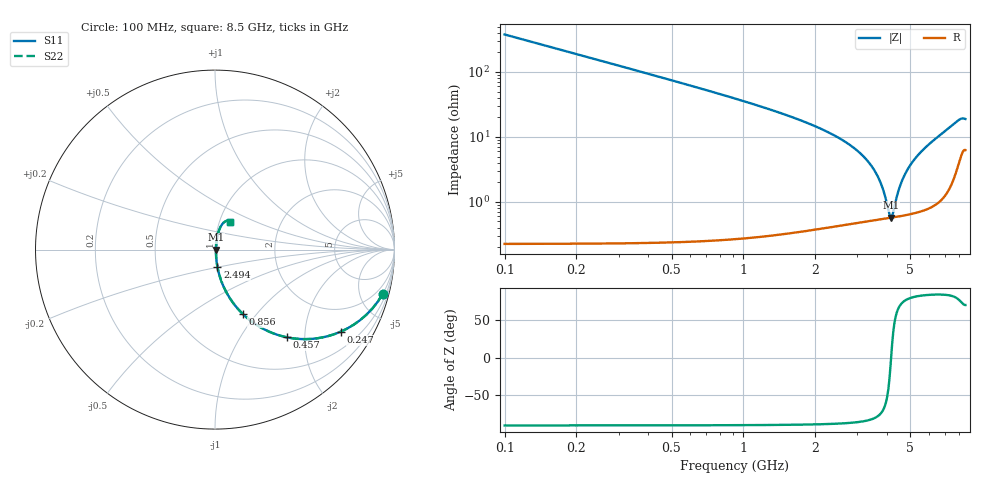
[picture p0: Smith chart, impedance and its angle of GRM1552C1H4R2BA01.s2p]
!Murata Part Number: GRM1552C1H4R2BA01
!These Parameters are Measured in Series Mode Connection
!Data Generated on Mar 30, 2021
!  o--ll--o
!Port1  Port2
!  o------o
!Operation Temp=25[degC], DC Bias Voltage=0[V]
!Freq. Start=100[MHz] Stop=9[GHz] 401[Steps]
# Hz S RI R 50
!Freq.(Hz) S11(Real) S11(Imag) S21(Real) S21(Imag) S12(Real) S12(Imag) S22(Real) S22(Imag)
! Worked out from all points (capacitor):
!   401 points, 100 MHz to 8.5 GHz, reference 50 ohm
!   read as one part in series: C = 4.2 pF near 142 MHz
!   lowest |Z| = 570 mohm at 4.153 GHz (marker M1)
!   series resonance near 4.152 GHz, so ESL is about 350 pH
!   S11 on the Smith chart (normalised r, x): 100 MHz: 1.00, -7.57; 247 MHz: 1.00, -3.06; 457 MHz: 1.00, -1.64; 856 MHz: 1.01, -0.85; 2.494 GHz: 1.01, -0.20; 8.5 GHz: 1.13, +0.36
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1e8  0.9347 -0.2468  0.0653 0.2468  0.0653 0.2468  0.9347 -0.2468
2.47e8  0.7001 -0.4575  0.2999 0.4575  0.2999 0.4575  0.7001 -0.4575
4.57e8  0.4018 -0.4888  0.5982 0.4888  0.5982 0.4888  0.4018 -0.4888
6.25e8  0.2608 -0.437  0.7392 0.437  0.7392 0.437  0.2608 -0.437
8.56e8  0.1539 -0.3577  0.8461 0.3577  0.8461 0.3577  0.1539 -0.3577
1.507e9  0.0484 -0.2073  0.9516 0.2073  0.9516 0.2073  0.0484 -0.2073
2.494e9  0.0136 -0.0961  0.9864 0.0961  0.9864 0.0961  0.0136 -0.0961
2.914e9  0.00901 -0.0659  0.991 0.0659  0.991 0.0659  0.00901 -0.0659
3.313e9  0.00674 -0.0418  0.9933 0.0418  0.9933 0.0418  0.00674 -0.0418
3.628e9  0.00587 -0.025  0.9941 0.025  0.9941 0.025  0.00587 -0.025
3.817e9  0.00564 -0.0157  0.9944 0.0157  0.9944 0.0157  0.00564 -0.0157
4.09e9  0.00563 -0.00283  0.9944 0.00283  0.9944 0.00283  0.00563 -0.00283
4.153e9  0.00567 3.23e-05  0.9943 -3.23e-05  0.9943 -3.23e-05  0.00567 3.23e-05
4.216e9  0.00573 0.00286  0.9943 -0.00286  0.9943 -0.00286  0.00573 0.00286
4.3e9  0.00584 0.00658  0.9942 -0.00658  0.9942 -0.00658  0.00584 0.00658
4.51e9  0.00622 0.0157  0.9938 -0.0157  0.9938 -0.0157  0.00622 0.0157
4.804e9  0.00702 0.0279  0.993 -0.0279  0.993 -0.0279  0.00702 0.0279
5.182e9  0.00852 0.0433  0.9915 -0.0433  0.9915 -0.0433  0.00852 0.0433
5.707e9  0.0115 0.0641  0.9885 -0.0641  0.9885 -0.0641  0.0115 0.0641
7.114e9  0.0293 0.1238  0.9707 -0.1238  0.9707 -0.1238  0.0293 0.1238
7.996e9  0.0664 0.1609  0.9336 -0.1609  0.9336 -0.1609  0.0664 0.1609
8.5e9  0.085 0.1535  0.915 -0.1535  0.915 -0.1535  0.085 0.1535
